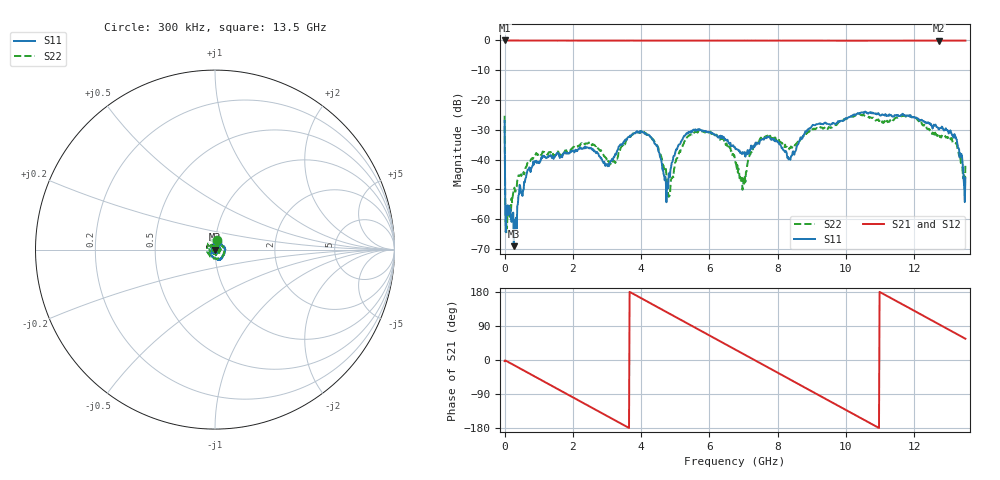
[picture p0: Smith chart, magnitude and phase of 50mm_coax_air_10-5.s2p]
!Agilent Technologies,N5230C,MY48100320,A.08.04.10
!Agilent N5230C: A.08.04.10
!Date: Wednesday, October 05, 2016 20:58:38
!Correction: S11(Full 2 Port(1,2))
!S21(Full 2 Port(1,2))
!S12(Full 2 Port(1,2))
!S22(Full 2 Port(1,2))
!S2P File: Measurements: S11, S21, S12, S22:
# Hz S  dB  R 50
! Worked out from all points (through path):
!   801 points, 300 kHz to 13.5 GHz, reference 50 ohm
!   highest |S21| = 0.01 dB at 17.17 MHz (marker M1); lowest = -0.1 dB at 12.72 GHz (marker M2)
!   group delay of S21, straight-line fit = 137 ps
!   lowest |S11| = -69.1 dB at 270.3 MHz (marker M3), VSWR 1.00, Z = 50 + j0.0292 ohm
!   |S11| at or under -10 dB: start of sweep to end of sweep
!   |S22| runs from -64.4 to -24.9 dB; largest |S21 - S12| = 0.0042
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300000  -26.93 77.9  -0.06 -2.8  -0.07 -2.8  -25.29 77.1
1.717462e7  -53.16 116.6  0.01 -1.0  0.01 -1.0  -52.06 88.5
8.467312e7  -55.37 22.8  -0.01 -4.2  -0.01 -4.2  -57.41 43.3
2.70294e8  -69.11 56.4  -0.01 -13.4  -0.01 -13.4  -50.46 28.2
8.609059e8  -41.67 101.4  -0.02 -42.4  -0.03 -42.4  -38.76 -12.8
2.2615e9  -36.42 -77.9  -0.04 -111.3  -0.03 -111.3  -34.52 43.4
3.003983e9  -41.68 160.0  -0.05 -147.8  -0.05 -147.8  -40.60 68.0
3.425849e9  -34.90 59.0  -0.03 -168.6  -0.04 -168.6  -35.58 145.0
4.016461e9  -30.61 4.3  -0.04 162.4  -0.04 162.4  -30.60 143.2
4.505825e9  -37.28 -32.9  -0.05 138.3  -0.03 138.4  -36.14 140.0
4.826443e9  -45.31 171.1  -0.04 122.5  -0.05 122.6  -52.08 -143.8
5.568926e9  -30.11 77.8  -0.03 86.0  -0.04 86.1  -30.84 -76.8
6.75015e9  -35.80 -75.2  -0.02 28.0  -0.05 28.0  -40.22 -71.6
6.986395e9  -37.75 -129.3  -0.04 16.4  -0.04 16.4  -48.95 11.1
7.509508e9  -33.39 135.9  -0.04 -9.3  -0.05 -9.2  -32.64 47.4
8.353239e9  -39.63 148.2  -0.05 -50.9  -0.04 -50.9  -36.12 -54.4
9.01135e9  -28.66 -144.1  -0.03 -83.3  -0.05 -83.3  -30.00 177.6
1.027695e10  -25.17 -74.3  -0.07 -145.5  -0.07 -145.4  -25.17 -27.2
1.125567e10  -25.33 -24.1  -0.06 166.5  -0.06 166.6  -27.32 176.7
1.272377e10  -29.89 74.5  -0.08 94.3  -0.07 94.5  -32.30 -60.2
1.319626e10  -32.61 96.8  -0.04 71.1  -0.04 71.2  -34.43 -133.5
1.35e10  -46.15 -140.5  -0.04 56.1  -0.06 56.2  -42.09 105.4
